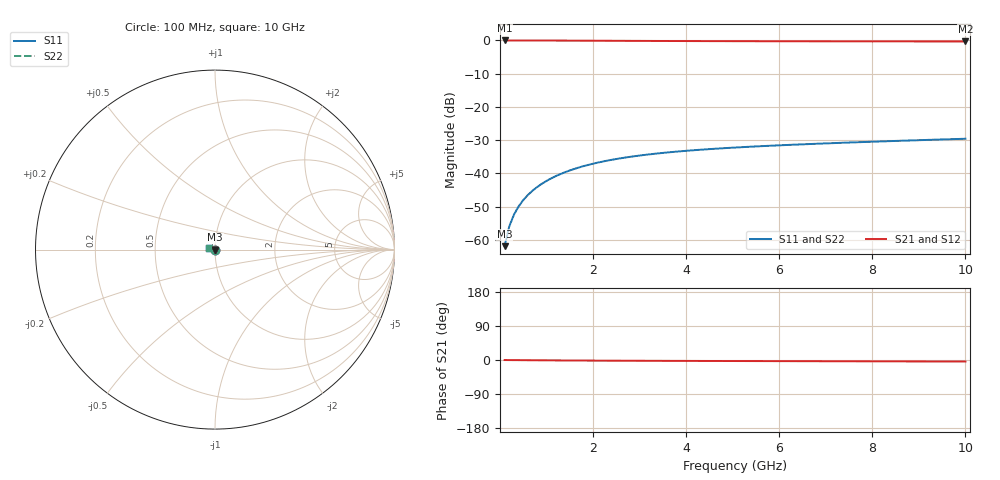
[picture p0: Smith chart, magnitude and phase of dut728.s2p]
! Touchstone file exported from HFSS 2024.1.0
!  File:  C:/UserFiles/LocalFiles/RDL_TSV_Batchsim/temp_TSV1_728_1779868995.aedt
!  Generated:  04:09:46 PM May 27, 2026
!  Design:  TSV1
!  Project:  temp_TSV1_728_1779868995
!  Setup:  Setup1
!  Solution:  Sweep
! Variables:
!  dtsv = 9.1um
!  hbump = 3um
!  htsv = 59.29um
!  lrdl = 252.1521522um
!  p = 40
!  p1 = 54.47um
!  t = 500um
!  trdl = 3um
!  wrdl = 24.89489489um
# GHz S MA R 50.000000
! Terminal data exported
! Port[1] = TSV22_T1
! Port[2] = TSV22_T2
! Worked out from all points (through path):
!   100 points, 100 MHz to 10 GHz, reference 50 ohm
!   highest |S21| = 0.00 dB at 100 MHz (marker M1); lowest = -0.3 dB at 10 GHz (marker M2)
!   lowest |S11| = -61.9 dB at 100 MHz (marker M3), VSWR 1.00, Z = 50 - j0.0797 ohm
!   |S11| at or under -10 dB: start of sweep to end of sweep
!   |S22| runs from -61.9 to -29.6 dB; largest |S21 - S12| = 2e-15
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0.1  0.0008056 -81.6  0.9998 -0.1  0.9998 -0.1  0.0008056 -81.6
! Gamma 0 0 0 0
! Port Impedance 50 0 50 0
0.2  0.001599 -88.7  0.9997 -0.2  0.9997 -0.2  0.001599 -88.7
0.3  0.002395 -92.6  0.9996 -0.3  0.9996 -0.3  0.002395 -92.6
0.4  0.003185 -95.6  0.9993 -0.4  0.9993 -0.4  0.003185 -95.6
0.5  0.003969 -98.2  0.9991 -0.5  0.9991 -0.5  0.003969 -98.2
0.6  0.004743 -100.7  0.9988 -0.6  0.9988 -0.6  0.004743 -100.7
0.7  0.005506 -103.0  0.9984 -0.6  0.9984 -0.6  0.005506 -103.0
0.8  0.006257 -105.2  0.998 -0.7  0.998 -0.7  0.006257 -105.2
0.9  0.006995 -107.4  0.9975 -0.8  0.9975 -0.8  0.006995 -107.4
1.1  0.008426 -111.6  0.9965 -1.0  0.9965 -1.0  0.008426 -111.6
1.4  0.01045 -117.5  0.9947 -1.2  0.9947 -1.2  0.01045 -117.5
1.6  0.01171 -121.3  0.9935 -1.3  0.9935 -1.3  0.01171 -121.3
1.8  0.01289 -124.9  0.9922 -1.5  0.9922 -1.5  0.01289 -124.9
2.1  0.01454 -130.0  0.9902 -1.6  0.9902 -1.6  0.01454 -130.0
2.5  0.01649 -136.4  0.9875 -1.8  0.9875 -1.8  0.01649 -136.4
2.9  0.01819 -142.2  0.9851 -2.0  0.9851 -2.0  0.01819 -142.2
3.4  0.02003 -148.9  0.9822 -2.2  0.9822 -2.2  0.02003 -148.9
4.2  0.02244 -158.2  0.9784 -2.5  0.9784 -2.5  0.02244 -158.2
5.1  0.02462 -167.1  0.9751 -2.7  0.9751 -2.7  0.02462 -167.1
6.7  0.02776 179.9  0.9709 -3.2  0.9709 -3.2  0.02776 179.9
8.4  0.03065 169.0  0.968 -3.6  0.968 -3.6  0.03065 169.0
10  0.03324 160.5  0.9662 -4.1  0.9662 -4.1  0.03324 160.5
